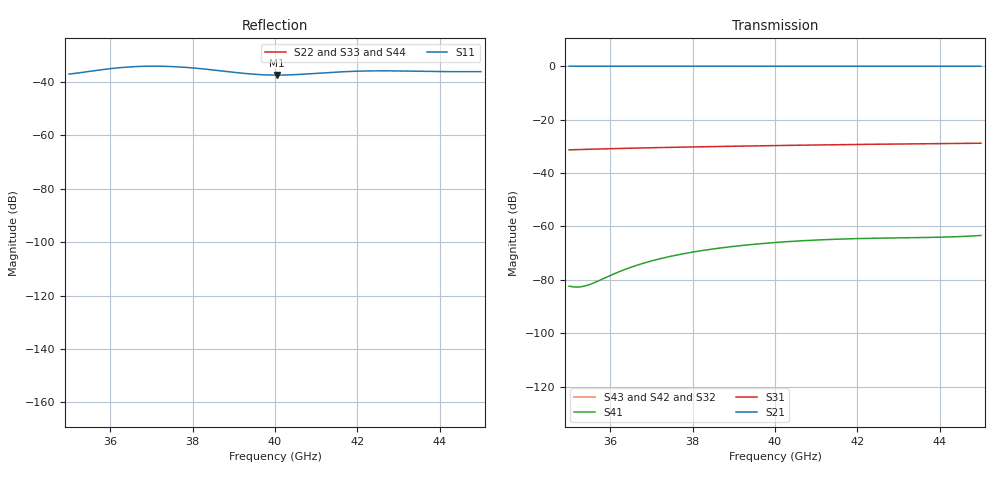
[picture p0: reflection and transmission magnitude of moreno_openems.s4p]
! Moreno cross-guide coupler, openEMS FDTD
! only column 1 (port 1 excited) and, by reciprocity, row 1 are simulated; other entries are zero
# GHz S MA R 50
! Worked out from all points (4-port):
!   201 points, 35 GHz to 45 GHz, reference 50 ohm
!   strongest paths, dB at 35 GHz, 37.5 GHz, 40 GHz, 42.5 GHz, 45 GHz:
!     S21: 0.0, 0.0, 0.0, 0.0, 0.0
!     S31: -31.3, -30.4, -29.7, -29.2, -28.9
!     S41: -82.4, -71.1, -66.0, -64.4, -63.4
!     S43: -, -, -, -, -
!     S42: -, -, -, -, -
!     S32: -, -, -, -, -
!   lowest |S11| = -37.4 dB at 40.05 GHz (marker M1), VSWR 1.03, Z = 51.3 + j0.421 ohm
!   |S11| at or under -10 dB: start of sweep to end of sweep
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35  0.01405 -144.0  0.9983 -159.9  0.02714 110.2  7.606e-05 -95.5
    0.9983 -159.9  0 0.0  0 0.0  0 0.0
    0.02714 110.2  0 0.0  0 0.0  0 0.0
    7.606e-05 -95.5  0 0.0  0 0.0  0 0.0
35.75  0.0168 -114.0  1 -167.7  0.0282 102.3  9.842e-05 -171.6
       1 -167.7  0 0.0  0 0.0  0 0.0
       0.0282 102.3  0 0.0  0 0.0  0 0.0
       9.842e-05 -171.6  0 0.0  0 0.0  0 0.0
37.1  0.01975 -79.1  1 178.6  0.02983 88.6  0.0002365 130.0
      1 178.6  0 0.0  0 0.0  0 0.0
      0.02983 88.6  0 0.0  0 0.0  0 0.0
      0.0002365 130.0  0 0.0  0 0.0  0 0.0
38.4  0.0171 -46.0  0.9994 165.9  0.03116 75.9  0.0003693 99.9
      0.9994 165.9  0 0.0  0 0.0  0 0.0
      0.03116 75.9  0 0.0  0 0.0  0 0.0
      0.0003693 99.9  0 0.0  0 0.0  0 0.0
40.05  0.01345 17.7  0.9991 150.3  0.03266 60.4  0.0005023 70.4
       0.9991 150.3  0 0.0  0 0.0  0 0.0
       0.03266 60.4  0 0.0  0 0.0  0 0.0
       0.0005023 70.4  0 0.0  0 0.0  0 0.0
42.65  0.01616 106.0  1 126.5  0.03469 36.5  0.0006048 34.6
       1 126.5  0 0.0  0 0.0  0 0.0
       0.03469 36.5  0 0.0  0 0.0  0 0.0
       0.0006048 34.6  0 0.0  0 0.0  0 0.0
45  0.01559 179.7  0.9974 105.7  0.03608 15.7  0.0006771 14.8
    0.9974 105.7  0 0.0  0 0.0  0 0.0
    0.03608 15.7  0 0.0  0 0.0  0 0.0
    0.0006771 14.8  0 0.0  0 0.0  0 0.0
